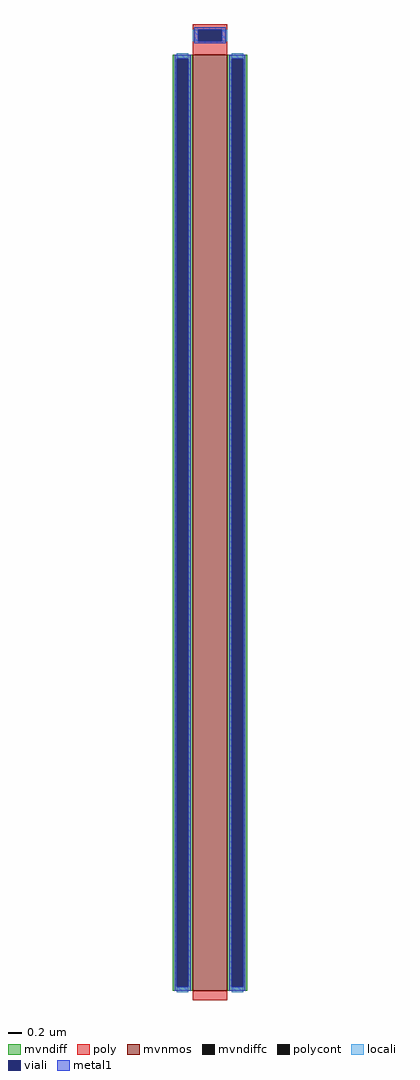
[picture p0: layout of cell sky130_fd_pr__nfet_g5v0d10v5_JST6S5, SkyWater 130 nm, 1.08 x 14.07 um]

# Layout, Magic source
magic
tech sky130A
magscale 1 2
<< mvnmos >>
rect -50 -1381 50 1319
<< mvndiff >>
rect -108 1307 -50 1319
rect -108 -1369 -96 1307
rect -62 -1369 -50 1307
rect -108 -1381 -50 -1369
rect 50 1307 108 1319
rect 50 -1369 62 1307
rect 96 -1369 108 1307
rect 50 -1381 108 -1369
<< mvndiffc >>
rect -96 -1369 -62 1307
rect 62 -1369 96 1307
<< poly >>
rect -50 1391 50 1407
rect -50 1357 -34 1391
rect 34 1357 50 1391
rect -50 1319 50 1357
rect -50 -1407 50 -1381
<< polycont >>
rect -34 1357 34 1391
<< locali >>
rect -50 1357 -34 1391
rect 34 1357 50 1391
rect -96 1307 -62 1323
rect -96 -1385 -62 -1369
rect 62 1307 96 1323
rect 62 -1385 96 -1369
<< viali >>
rect -34 1357 34 1391
rect -96 -1369 -62 1307
rect 62 -1369 96 1307
<< metal1 >>
rect -46 1391 46 1397
rect -46 1357 -34 1391
rect 34 1357 46 1391
rect -46 1351 46 1357
rect -102 1307 -56 1319
rect -102 -1369 -96 1307
rect -62 -1369 -56 1307
rect -102 -1381 -56 -1369
rect 56 1307 102 1319
rect 56 -1369 62 1307
rect 96 -1369 102 1307
rect 56 -1381 102 -1369
<< properties >>
string gencell sky130_fd_pr__nfet_g5v0d10v5
string library sky130
string parameters w 13.5 l 0.5 m 1 nf 1 diffcov 100 polycov 100 guard 0 glc 1 grc 1 gtc 1 gbc 1 tbcov 100 rlcov 100 topc 1 botc 0 poverlap 0 doverlap 1 lmin 0.50 wmin 0.42 compatible {sky130_fd_pr__nfet_01v8 sky130_fd_pr__nfet_01v8_lvt  sky130_fd_bs_flash__special_sonosfet_star  sky130_fd_pr__nfet_g5v0d10v5 sky130_fd_pr__nfet_05v0_nvt  sky130_fd_pr__nfet_03v3_nvt} full_metal 1 viasrc 100 viadrn 100 viagate 100 viagb 0 viagr 0 viagl 0 viagt 0
<< end >>
